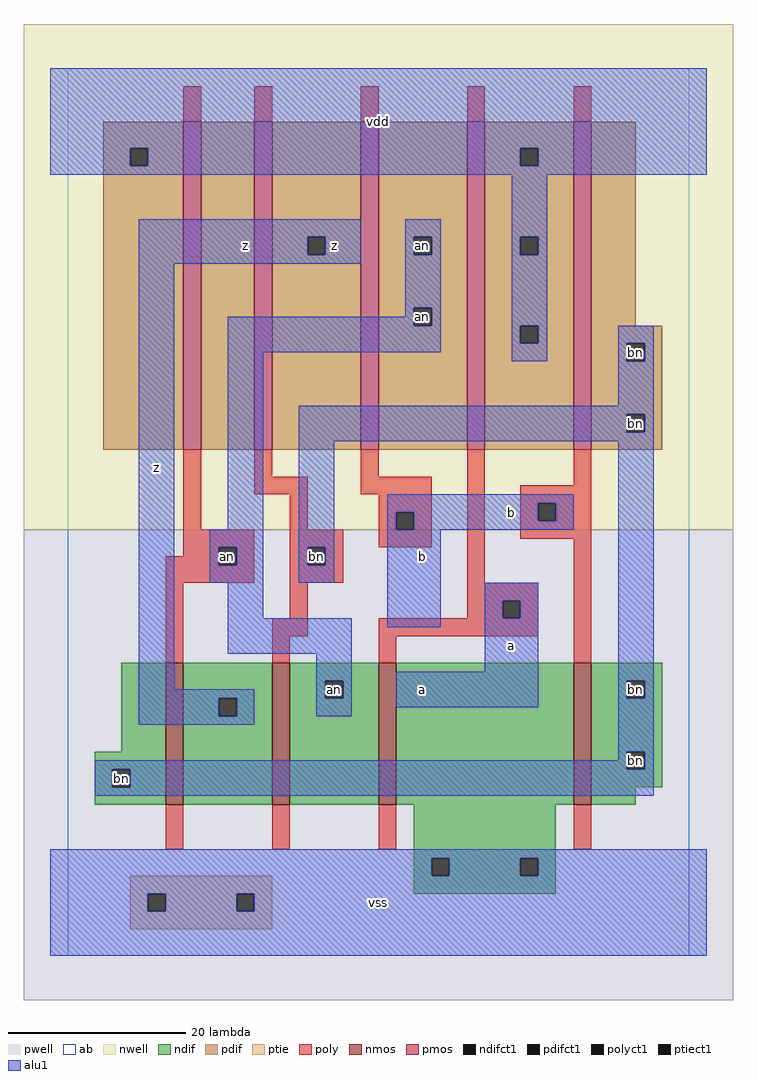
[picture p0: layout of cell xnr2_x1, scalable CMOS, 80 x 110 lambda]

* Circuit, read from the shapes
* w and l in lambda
.subckt xnr2_x1 a an b bn vdd vss z
M1 z an bn vss nfet w=16 l=2
M2 an bn z vss nfet w=16 l=2
M3 vss a an vss nfet w=16 l=2
M4 bn b vss vss nfet w=16 l=2
M5 n1 an vdd n2 pfet w=37 l=2
M6 z bn n1 n2 pfet w=37 l=2
M7 an b z n2 pfet w=37 l=2
M8 vdd a an n2 pfet w=37 l=2
M9 bn b vdd n2 pfet w=37 l=2
.ends

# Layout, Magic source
magic
tech scmos
<< ab >>
rect 0 0 70 100
<< nwell >>
rect -5 48 75 105
<< pwell >>
rect -5 -5 75 48
<< poly >>
rect 13 94 15 98
rect 21 94 23 98
rect 33 94 35 98
rect 45 94 47 98
rect 57 94 59 98
rect 13 48 15 57
rect 21 54 23 57
rect 33 54 35 57
rect 21 52 27 54
rect 33 52 41 54
rect 25 48 27 52
rect 35 50 41 52
rect 35 48 37 50
rect 39 48 41 50
rect 13 46 21 48
rect 13 45 17 46
rect 11 44 17 45
rect 19 44 21 46
rect 11 42 21 44
rect 25 46 31 48
rect 35 46 41 48
rect 25 44 27 46
rect 29 44 31 46
rect 25 42 31 44
rect 45 42 47 57
rect 57 53 59 57
rect 51 51 59 53
rect 51 49 53 51
rect 55 49 59 51
rect 51 47 59 49
rect 11 33 13 42
rect 25 38 27 42
rect 45 40 53 42
rect 45 38 49 40
rect 51 38 53 40
rect 23 36 27 38
rect 35 36 53 38
rect 23 33 25 36
rect 35 33 37 36
rect 57 33 59 47
rect 11 12 13 17
rect 23 12 25 17
rect 35 12 37 17
rect 57 12 59 17
<< ndif >>
rect 6 23 11 33
rect 3 21 11 23
rect 3 19 5 21
rect 7 19 11 21
rect 3 17 11 19
rect 13 29 23 33
rect 13 27 17 29
rect 19 27 23 29
rect 13 17 23 27
rect 25 31 35 33
rect 25 29 29 31
rect 31 29 35 31
rect 25 17 35 29
rect 37 17 57 33
rect 59 31 67 33
rect 59 29 63 31
rect 65 29 67 31
rect 59 23 67 29
rect 59 21 63 23
rect 65 21 67 23
rect 59 19 67 21
rect 59 17 64 19
rect 39 11 55 17
rect 39 9 41 11
rect 43 9 51 11
rect 53 9 55 11
rect 39 7 55 9
<< pdif >>
rect 4 91 13 94
rect 4 89 7 91
rect 9 89 13 91
rect 4 57 13 89
rect 15 57 21 94
rect 23 81 33 94
rect 23 79 27 81
rect 29 79 33 81
rect 23 57 33 79
rect 35 81 45 94
rect 35 79 39 81
rect 41 79 45 81
rect 35 73 45 79
rect 35 71 39 73
rect 41 71 45 73
rect 35 57 45 71
rect 47 91 57 94
rect 47 89 51 91
rect 53 89 57 91
rect 47 81 57 89
rect 47 79 51 81
rect 53 79 57 81
rect 47 71 57 79
rect 47 69 51 71
rect 53 69 57 71
rect 47 57 57 69
rect 59 71 64 94
rect 59 69 67 71
rect 59 67 63 69
rect 65 67 67 69
rect 59 61 67 67
rect 59 59 63 61
rect 65 59 67 61
rect 59 57 67 59
<< alu1 >>
rect -2 91 72 100
rect -2 89 7 91
rect 9 89 51 91
rect 53 89 72 91
rect -2 88 72 89
rect 8 81 33 83
rect 8 79 27 81
rect 29 79 33 81
rect 8 78 33 79
rect 38 81 42 83
rect 38 79 39 81
rect 41 79 42 81
rect 8 30 12 78
rect 38 73 42 79
rect 38 72 39 73
rect 18 71 39 72
rect 41 71 42 73
rect 18 68 42 71
rect 50 81 54 88
rect 50 79 51 81
rect 53 79 54 81
rect 50 71 54 79
rect 50 69 51 71
rect 53 69 54 71
rect 18 48 22 68
rect 50 67 54 69
rect 62 69 66 71
rect 62 67 63 69
rect 65 67 66 69
rect 62 62 66 67
rect 16 46 22 48
rect 16 44 17 46
rect 19 44 22 46
rect 16 42 22 44
rect 26 61 66 62
rect 26 59 63 61
rect 65 59 66 61
rect 26 58 66 59
rect 26 46 30 58
rect 26 44 27 46
rect 29 44 30 46
rect 26 42 30 44
rect 36 51 57 52
rect 36 50 53 51
rect 36 48 37 50
rect 39 49 53 50
rect 55 49 57 51
rect 39 48 57 49
rect 18 38 22 42
rect 18 34 32 38
rect 36 37 42 48
rect 47 40 53 42
rect 47 38 49 40
rect 51 38 53 40
rect 28 31 32 34
rect 47 32 53 38
rect 8 29 21 30
rect 8 27 17 29
rect 19 27 21 29
rect 28 29 29 31
rect 31 29 32 31
rect 28 27 32 29
rect 37 28 53 32
rect 62 31 66 58
rect 62 29 63 31
rect 65 29 66 31
rect 8 26 21 27
rect 62 23 66 29
rect 62 22 63 23
rect 3 21 63 22
rect 65 21 66 23
rect 3 19 5 21
rect 7 19 66 21
rect 3 18 66 19
rect -2 11 72 12
rect -2 9 41 11
rect 43 9 51 11
rect 53 9 72 11
rect -2 7 72 9
rect -2 5 9 7
rect 11 5 19 7
rect 21 5 72 7
rect -2 0 72 5
<< ptie >>
rect 7 7 23 9
rect 7 5 9 7
rect 11 5 19 7
rect 21 5 23 7
rect 7 3 23 5
<< nmos >>
rect 11 17 13 33
rect 23 17 25 33
rect 35 17 37 33
rect 57 17 59 33
<< pmos >>
rect 13 57 15 94
rect 21 57 23 94
rect 33 57 35 94
rect 45 57 47 94
rect 57 57 59 94
<< polyct1 >>
rect 37 48 39 50
rect 17 44 19 46
rect 27 44 29 46
rect 53 49 55 51
rect 49 38 51 40
<< ndifct1 >>
rect 5 19 7 21
rect 17 27 19 29
rect 29 29 31 31
rect 63 29 65 31
rect 63 21 65 23
rect 41 9 43 11
rect 51 9 53 11
<< ptiect1 >>
rect 9 5 11 7
rect 19 5 21 7
<< pdifct1 >>
rect 7 89 9 91
rect 27 79 29 81
rect 39 79 41 81
rect 39 71 41 73
rect 51 89 53 91
rect 51 79 53 81
rect 51 69 53 71
rect 63 67 65 69
rect 63 59 65 61
<< labels >>
rlabel ndifct1 6 20 6 20 6 bn
rlabel polyct1 18 45 18 45 6 an
rlabel polyct1 28 45 28 45 6 bn
rlabel ndifct1 30 30 30 30 6 an
rlabel pdifct1 40 72 40 72 6 an
rlabel pdifct1 40 80 40 80 6 an
rlabel ndifct1 64 22 64 22 6 bn
rlabel ndifct1 64 30 64 30 6 bn
rlabel pdifct1 64 68 64 68 6 bn
rlabel pdifct1 64 60 64 60 6 bn
rlabel alu1 10 55 10 55 6 z
rlabel alu1 20 80 20 80 6 z
rlabel alu1 30 80 30 80 6 z
rlabel alu1 35 6 35 6 6 vss
rlabel alu1 40 45 40 45 6 b
rlabel alu1 40 30 40 30 6 a
rlabel alu1 50 35 50 35 6 a
rlabel alu1 50 50 50 50 6 b
rlabel alu1 35 94 35 94 6 vdd
<< end >>
